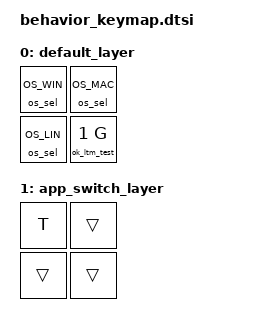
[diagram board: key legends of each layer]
#include <dt-bindings/zmk/keys.h>
#include <behaviors.dtsi>
#include <dt-bindings/zmk/kscan_mock.h>
#include <dt-bindings/zmk/oskey.h>

/ {
    behaviors {
        os_sel: os_selector {
            compatible = "zmk,behavior-os-selector";
            #binding-cells = <1>;
        };

        ok_ltm_test: os_layer_mod_test {
            compatible = "zmk,behavior-os-layer-mod";
            #binding-cells = <2>;
            tapping-term-ms = <200>;
            /*              Win           Mac           Lin  */
            bindings = <&kp LALT>, <&kp LGUI>, <&kp LALT>;
        };
    };

    keymap {
        compatible = "zmk,keymap";

        default_layer {
            bindings = <
                &os_sel OS_WIN  &os_sel OS_MAC
                &os_sel OS_LIN  &ok_ltm_test 1 G
            >;
        };

        /*
         * Layer 1: the app-switch layer activated by ok_ltm_test's hold.
         * (0,0) is &kp T so we can verify the layer is truly active by
         * pressing that position while ok_ltm_test is held.
         */
        app_switch_layer {
            bindings = <
                &kp T    &trans
                &trans   &trans
            >;
        };
    };
};
